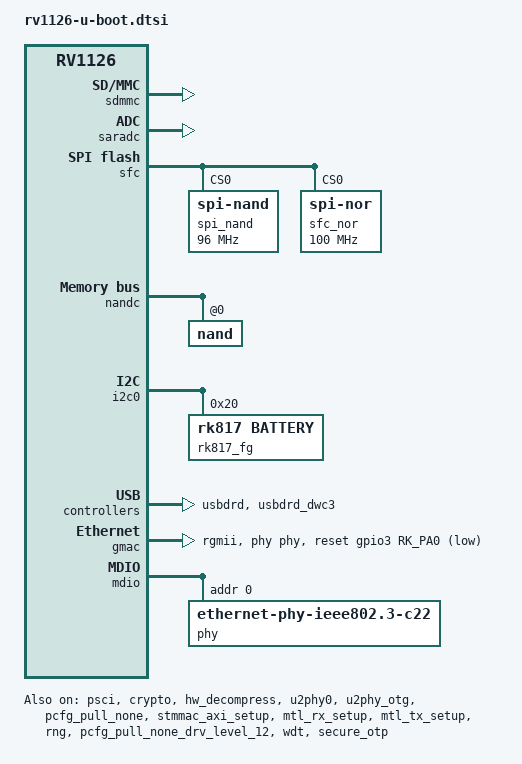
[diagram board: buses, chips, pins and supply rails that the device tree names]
/*
 * (C) Copyright 2020 Rockchip Electronics Co., Ltd
 *
 * SPDX-License-Identifier:     GPL-2.0+
 */

/ {
	aliases {
		mmc0 = &emmc;
		mmc1 = &sdmmc;
	};

	chosen {
		stdout-path = &uart2;
		u-boot,spl-boot-order = &sdmmc, &spi_nand, &spi_nor, &nandc, &emmc;
	};

	secure_otp: secure_otp@0xff5d0000 {
		compatible = "rockchip,rv1126-secure-otp";
		reg = <0xff5d0000 0x4000>;
		secure_conf = <0xfe0a0008>;
	};
};

&psci {
	u-boot,dm-pre-reloc;
	status = "okay";
};

&uart2 {
	clock-frequency = <24000000>;
	u-boot,dm-spl;
	/delete-property/ pinctrl-names;
	/delete-property/ pinctrl-0;
};

&sdmmc {
	u-boot,dm-spl;
	status = "okay";
};

&sdmmc0 {
	u-boot,dm-spl;
};

&sdmmc0_bus4 {
	u-boot,dm-spl;
};

&sdmmc0_clk {
	u-boot,dm-spl;
};

&sdmmc0_cmd {
	u-boot,dm-spl;
};

&sdmmc0_det {
	u-boot,dm-spl;
};

&emmc {
	mmc-ecsd = <0x0020f000>;
	u-boot,dm-spl;
	/delete-property/ pinctrl-names;
	/delete-property/ pinctrl-0;
};

&pmu {
	u-boot,dm-spl;
};

&pmugrf {
	u-boot,dm-spl;
};

&pmucru {
	u-boot,dm-spl;
};

&cru {
	u-boot,dm-spl;
	/delete-property/ assigned-clocks;
	/delete-property/ assigned-clock-rates;
	/delete-property/ assigned-clock-parents;
};

&crypto {
	u-boot,dm-spl;
	status = "okay";
};

&grf {
	u-boot,dm-spl;
};

&saradc {
	u-boot,dm-spl;
	status = "okay";
};

&sfc {
	u-boot,dm-spl;
	/delete-property/ pinctrl-names;
	/delete-property/ pinctrl-0;
	/delete-property/ assigned-clocks;
	/delete-property/ assigned-clock-rates;
	status = "okay";

	#address-cells = <1>;
	#size-cells = <0>;
	spi_nand: flash@0 {
		u-boot,dm-spl;
		compatible = "spi-nand";
		reg = <0>;
		spi-tx-bus-width = <1>;
		spi-rx-bus-width = <4>;
		spi-max-frequency = <96000000>;
	};

	spi_nor: flash@1 {
		u-boot,dm-spl;
		compatible = "jedec,spi-nor";
		label = "sfc_nor";
		reg = <0>;
		spi-tx-bus-width = <1>;
		spi-rx-bus-width = <4>;
		spi-max-frequency = <100000000>;
	};
};

&nandc {
	u-boot,dm-spl;
	/delete-property/ pinctrl-names;
	/delete-property/ pinctrl-0;
	status = "okay";
	#address-cells = <1>;
	#size-cells = <0>;

	nand@0 {
		u-boot,dm-spl;
		reg = <0>;
		nand-ecc-mode = "hw";
		nand-ecc-strength = <16>;
		nand-ecc-step-size = <1024>;
	};
};

&hw_decompress {
	u-boot,dm-spl;
	status = "okay";
};

&secure_otp {
	u-boot,dm-spl;
	status = "okay";
};

&i2c0 {
	u-boot,dm-spl;
	status = "okay";
	rk817_fg@20 {
		u-boot,dm-spl;
		compatible = "rk817,battery";
		reg = <0x20>;
		bat_res_up = <140>;
		bat_res_down = <20>;
	};
};

&u2phy0 {
	u-boot,dm-pre-reloc;
	status = "okay";
};

&u2phy_otg {
	u-boot,dm-pre-reloc;
	status = "okay";
};

&usbdrd {
	u-boot,dm-pre-reloc;
	status = "okay";
};

&usbdrd_dwc3 {
	u-boot,dm-pre-reloc;
	status = "okay";
};

&pinctrl {
	u-boot,dm-spl;
	status = "okay";
};

&gpio0 {
	u-boot,dm-spl;
	status = "okay";
};

&gpio1 {
	u-boot,dm-spl;
	status = "okay";
};

&pcfg_pull_up_drv_level_2 {
	u-boot,dm-spl;
};

&pcfg_pull_none {
	u-boot,dm-spl;
};

&gpio3 {
	u-boot,dm-pre-reloc;
	status = "okay";
};

&gmac {
	u-boot,dm-pre-reloc;

	phy-mode = "rgmii";
	clock_in_out = "input";

	snps,reset-gpio = <&gpio3 RK_PA0 GPIO_ACTIVE_LOW>;
	snps,reset-active-low;
	/* Reset time is 20ms, 100ms for rtl8211f */
	snps,reset-delays-us = <0 20000 100000>;

	assigned-clocks = <&cru CLK_GMAC_SRC>, <&cru CLK_GMAC_TX_RX>, <&cru CLK_GMAC_ETHERNET_OUT>;
	assigned-clock-parents = <&cru CLK_GMAC_SRC_M1>, <&cru RGMII_MODE_CLK>;
	assigned-clock-rates = <125000000>, <0>, <25000000>;

	pinctrl-names = "default";
	pinctrl-0 = <&rgmiim1_pins &clk_out_ethernetm1_pins>;

	tx_delay = <0x2a>;
	rx_delay = <0x1a>;

	phy-handle = <&phy>;
	status = "okay";
};

&mdio {
	u-boot,dm-pre-reloc;
	status = "okay";

	phy: phy@0 {
		compatible = "ethernet-phy-ieee802.3-c22";
		u-boot,dm-pre-reloc;
		reg = <0x0>;
		clocks = <&cru CLK_GMAC_ETHERNET_OUT>;
	};
};

&stmmac_axi_setup {
	u-boot,dm-pre-reloc;
	status = "okay";
	queue0 {
		u-boot,dm-pre-reloc;
	};
};

&mtl_rx_setup {
	u-boot,dm-pre-reloc;
	status = "okay";
	queue0 {
		u-boot,dm-pre-reloc;
	};
};

&mtl_tx_setup {
	u-boot,dm-pre-reloc;
	status = "okay";
};

&gmac_clkin_m0 {
	u-boot,dm-pre-reloc;
	status = "okay";
};

&gmac_clkini_m1 {
	u-boot,dm-pre-reloc;
	status = "okay";
};

&rgmiim1_pins {
	u-boot,dm-pre-reloc;
	status = "okay";
};

&rng {
	u-boot,dm-spl;
	status = "okay";
};

&clk_out_ethernetm1_pins{
	u-boot,dm-pre-reloc;
	status = "okay";
};

&pcfg_pull_none {
	u-boot,dm-pre-reloc;
	status = "okay";
};

&pcfg_pull_none_drv_level_12 {
	u-boot,dm-pre-reloc;
	status = "okay";
};

&wdt {
	u-boot,dm-pre-reloc;
	status = "okay";
};
